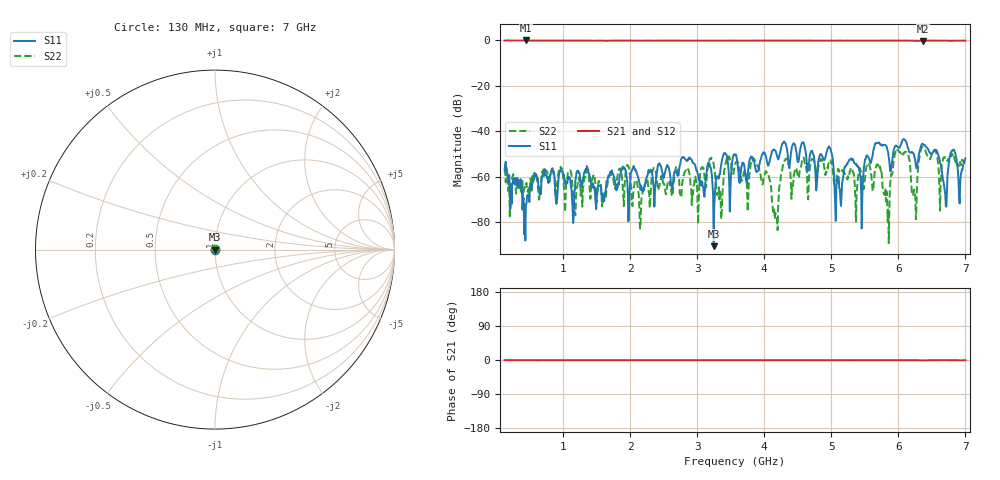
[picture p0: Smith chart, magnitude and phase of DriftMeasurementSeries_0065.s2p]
# Hz S RI R 50.000000
! Metas.Vna.Tools, 2.8.8664.20301
! Metas.Vna.Data, 2.8.8664.20285
! Created: UTC 2024.02.11 10:08:33
! FREQ  re:S1,1  im:S1,1  re:S2,1  im:S2,1  re:S1,2  im:S1,2  re:S2,2  im:S2,2
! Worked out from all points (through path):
!   801 points, 130 MHz to 7 GHz, reference 50 ohm
!   highest |S21| = -0.02 dB at 447.7 MHz (marker M1); lowest = -0.2 dB at 6.365 GHz (marker M2)
!   lowest |S11| = -90.6 dB at 3.247 GHz (marker M3), VSWR 1.00, Z = 50 + j0.00262 ohm
!   |S11| at or under -10 dB: start of sweep to end of sweep
!   |S22| runs from -89.2 to -46.8 dB; largest |S21 - S12| = 0.023
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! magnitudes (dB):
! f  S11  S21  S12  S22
! 130 MHz  -57.0  -0.1  0.0  -58.4
! 447.7 MHz  -72.2  0.0  0.0  -63.3
! 1.281 GHz  -62.1  -0.1  0.0  -67.9
! 2.423 GHz  -54.4  -0.1  0.0  -66.0
! 3.247 GHz  -90.6  -0.1  0.0  -54.4
! 3.333 GHz  -58.8  -0.1  0.0  -70.0
! 3.565 GHz  -50.1  -0.1  0.0  -54.8
! 4.046 GHz  -54.0  -0.1  0.0  -58.6
! 4.166 GHz  -48.5  -0.1  0.0  -75.9
! 4.312 GHz  -45.0  -0.1  0.0  -52.8
! 4.716 GHz  -48.6  -0.1  0.0  -52.1
! 4.982 GHz  -47.3  -0.1  0.0  -53.4
! 5.085 GHz  -62.2  -0.1  0.0  -59.1
! 5.703 GHz  -45.1  -0.1  0.0  -54.2
! 5.858 GHz  -51.3  -0.1  0.0  -89.2
! 5.995 GHz  -47.1  -0.1  0.0  -48.3
! 6.244 GHz  -51.7  -0.1  0.0  -67.0
! 6.365 GHz  -45.5  -0.2  0.0  -47.2
! 6.691 GHz  -65.8  -0.1  0.0  -51.8
! 6.802 GHz  -48.7  -0.1  0.0  -49.8
! 6.923 GHz  -62.5  -0.1  0.0  -53.5
! 7 GHz  -51.9  -0.1  0.0  -54.9
